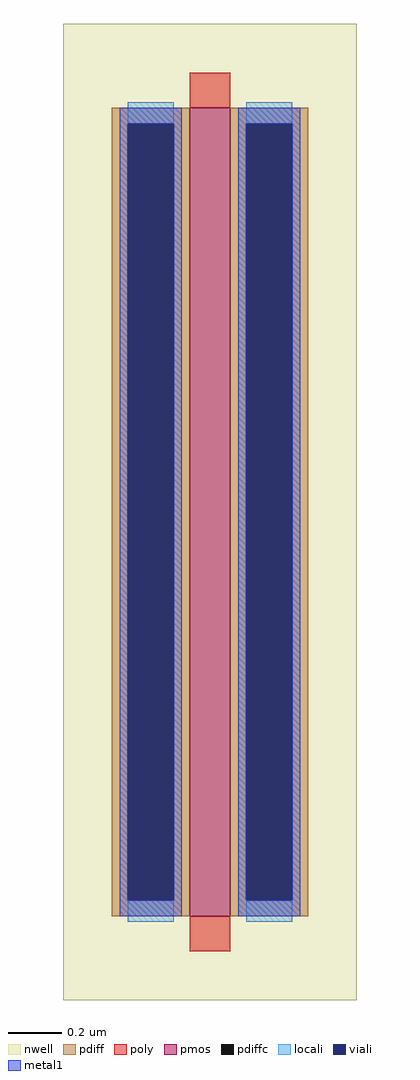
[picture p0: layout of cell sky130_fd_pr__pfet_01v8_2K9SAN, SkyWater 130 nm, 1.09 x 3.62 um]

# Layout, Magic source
magic
tech sky130A
magscale 1 2
<< nwell >>
rect -109 -362 109 362
<< pmos >>
rect -15 -300 15 300
<< pdiff >>
rect -73 288 -15 300
rect -73 -288 -61 288
rect -27 -288 -15 288
rect -73 -300 -15 -288
rect 15 288 73 300
rect 15 -288 27 288
rect 61 -288 73 288
rect 15 -300 73 -288
<< pdiffc >>
rect -61 -288 -27 288
rect 27 -288 61 288
<< poly >>
rect -15 300 15 326
rect -15 -326 15 -300
<< locali >>
rect -61 288 -27 304
rect -61 -304 -27 -288
rect 27 288 61 304
rect 27 -304 61 -288
<< viali >>
rect -61 -288 -27 288
rect 27 -288 61 288
<< metal1 >>
rect -67 288 -21 300
rect -67 -288 -61 288
rect -27 -288 -21 288
rect -67 -300 -21 -288
rect 21 288 67 300
rect 21 -288 27 288
rect 61 -288 67 288
rect 21 -300 67 -288
<< properties >>
string gencell sky130_fd_pr__pfet_01v8
string library sky130
string parameters w 3 l 0.15 m 1 nf 1 diffcov 100 polycov 100 guard 0 glc 1 grc 1 gtc 1 gbc 1 tbcov 100 rlcov 100 topc 0 botc 0 poverlap 0 doverlap 1 lmin 0.15 wmin 0.42 compatible {sky130_fd_pr__pfet_01v8  sky130_fd_pr__pfet_01v8_lvt sky130_fd_pr__pfet_01v8_hvt  sky130_fd_pr__pfet_g5v0d10v5} full_metal 1 viasrc 100 viadrn 100 viagate 100 viagb 0 viagr 0 viagl 0 viagt 0
<< end >>
